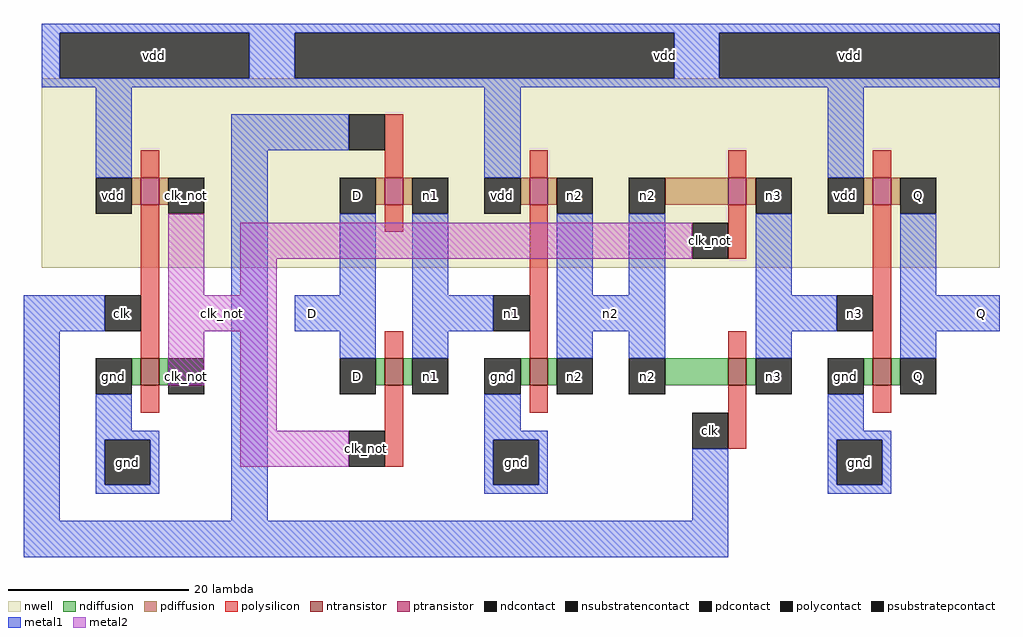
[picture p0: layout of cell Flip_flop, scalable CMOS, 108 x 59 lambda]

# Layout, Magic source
magic
tech scmos
<< nwell >>
rect 0 4 106 25
<< ntransistor >>
rect 11 -9 13 -6
rect 38 -9 40 -6
rect 54 -9 56 -6
rect 76 -9 78 -6
rect 92 -9 94 -6
<< ptransistor >>
rect 11 11 13 14
rect 38 11 40 14
rect 54 11 56 14
rect 76 11 78 14
rect 92 11 94 14
<< ndiffusion >>
rect 10 -9 11 -6
rect 13 -9 14 -6
rect 37 -9 38 -6
rect 40 -9 41 -6
rect 53 -9 54 -6
rect 56 -9 57 -6
rect 69 -9 76 -6
rect 78 -9 79 -6
rect 91 -9 92 -6
rect 94 -9 95 -6
<< pdiffusion >>
rect 10 11 11 14
rect 13 11 14 14
rect 37 11 38 14
rect 40 11 41 14
rect 53 11 54 14
rect 56 11 57 14
rect 69 11 76 14
rect 78 11 79 14
rect 91 11 92 14
rect 94 11 95 14
<< ndcontact >>
rect 6 -10 10 -6
rect 14 -10 18 -6
rect 33 -10 37 -6
rect 41 -10 45 -6
rect 49 -10 53 -6
rect 57 -10 61 -6
rect 65 -10 69 -6
rect 79 -10 83 -6
rect 87 -10 91 -6
rect 95 -10 99 -6
<< pdcontact >>
rect 6 10 10 14
rect 14 10 18 14
rect 33 10 37 14
rect 41 10 45 14
rect 49 10 53 14
rect 57 10 61 14
rect 65 10 69 14
rect 79 10 83 14
rect 87 10 91 14
rect 95 10 99 14
<< psubstratepcontact >>
rect 7 -20 12 -15
rect 50 -20 55 -15
rect 88 -20 93 -15
<< nsubstratencontact >>
rect 2 25 23 30
rect 28 25 70 30
rect 75 25 106 30
<< polysilicon >>
rect 11 14 13 17
rect 38 14 40 21
rect 54 14 56 17
rect 76 14 78 17
rect 92 14 94 17
rect 11 -6 13 11
rect 38 8 40 11
rect 38 -6 40 -3
rect 54 -6 56 11
rect 76 5 78 11
rect 76 -6 78 -3
rect 92 -6 94 11
rect 11 -12 13 -9
rect 38 -18 40 -9
rect 54 -12 56 -9
rect 76 -16 78 -9
rect 92 -12 94 -9
<< polycontact >>
rect 34 17 38 21
rect 7 -3 11 1
rect 50 -3 54 1
rect 72 5 76 9
rect 88 -3 92 1
rect 34 -18 38 -14
rect 72 -16 76 -12
<< metal1 >>
rect 0 30 106 31
rect 0 25 2 30
rect 23 25 28 30
rect 70 25 75 30
rect 0 24 106 25
rect 6 14 10 24
rect 21 17 34 21
rect -2 -3 7 1
rect -2 -24 2 -3
rect 6 -14 10 -10
rect 6 -15 13 -14
rect 6 -20 7 -15
rect 12 -20 13 -15
rect 6 -21 13 -20
rect 21 -24 25 17
rect 49 14 53 24
rect 87 14 91 24
rect 33 1 37 10
rect 28 -3 37 1
rect 33 -6 37 -3
rect 41 1 45 10
rect 57 1 61 10
rect 65 1 69 10
rect 41 -3 50 1
rect 57 -3 69 1
rect 41 -6 45 -3
rect 57 -6 61 -3
rect 65 -6 69 -3
rect 79 1 83 10
rect 95 1 99 10
rect 79 -3 88 1
rect 95 -3 106 1
rect 79 -6 83 -3
rect 95 -6 99 -3
rect 49 -14 53 -10
rect 49 -15 56 -14
rect 49 -20 50 -15
rect 55 -20 56 -15
rect 49 -21 56 -20
rect 72 -24 76 -16
rect 87 -14 91 -10
rect 87 -15 94 -14
rect 87 -20 88 -15
rect 93 -20 94 -15
rect 87 -21 94 -20
rect -2 -28 76 -24
<< metal2 >>
rect 14 1 18 10
rect 22 5 72 9
rect 22 1 26 5
rect 14 -3 26 1
rect 14 -9 18 -3
rect 22 -14 26 -3
rect 22 -18 34 -14
<< labels >>
rlabel pdcontact 87 10 91 14 1 vdd
rlabel polycontact 88 -3 92 1 1 n3
rlabel metal1 102 -3 106 1 7 Q
rlabel metal1 87 -21 94 -14 1 gnd
rlabel metal1 49 -21 56 -14 1 gnd
rlabel polycontact 50 -3 54 1 1 n1
rlabel metal1 61 -3 65 1 1 n2
rlabel pdcontact 49 10 53 14 1 vdd
rlabel pdcontact 6 10 10 14 1 vdd
rlabel metal1 6 -21 13 -14 1 gnd
rlabel polycontact 7 -3 11 1 1 clk
rlabel metal2 18 -3 22 1 1 clk_not
rlabel ndcontact 14 -10 18 -6 1 clk_not
rlabel polycontact 73 -15 75 -13 1 clk
rlabel polycontact 73 6 75 8 1 clk_not
rlabel polycontact 35 -17 37 -15 1 clk_not
rlabel ndcontact 7 -9 9 -7 1 gnd
rlabel ndcontact 50 -9 52 -7 1 gnd
rlabel ndcontact 88 -9 90 -7 1 gnd
rlabel ndcontact 96 -9 98 -7 1 Q
rlabel pdcontact 96 11 98 13 1 Q
rlabel ndcontact 80 -9 82 -7 1 n3
rlabel pdcontact 80 11 82 13 1 n3
rlabel ndcontact 66 -9 68 -7 1 n2
rlabel pdcontact 66 11 68 13 1 n2
rlabel ndcontact 58 -9 60 -7 1 n2
rlabel pdcontact 58 11 60 13 1 n2
rlabel ndcontact 42 -9 44 -7 1 n1
rlabel pdcontact 42 11 44 13 1 n1
rlabel pdcontact 34 11 36 13 1 D
rlabel ndcontact 34 -9 36 -7 1 D
rlabel pdcontact 14 10 18 14 1 clk_not
rlabel metal1 32 24 106 31 1 vdd
rlabel nsubstratencontact 2 25 23 30 5 vdd
rlabel nsubstratencontact 75 25 104 30 5 vdd
rlabel metal1 28 -3 32 1 1 D
<< end >>
